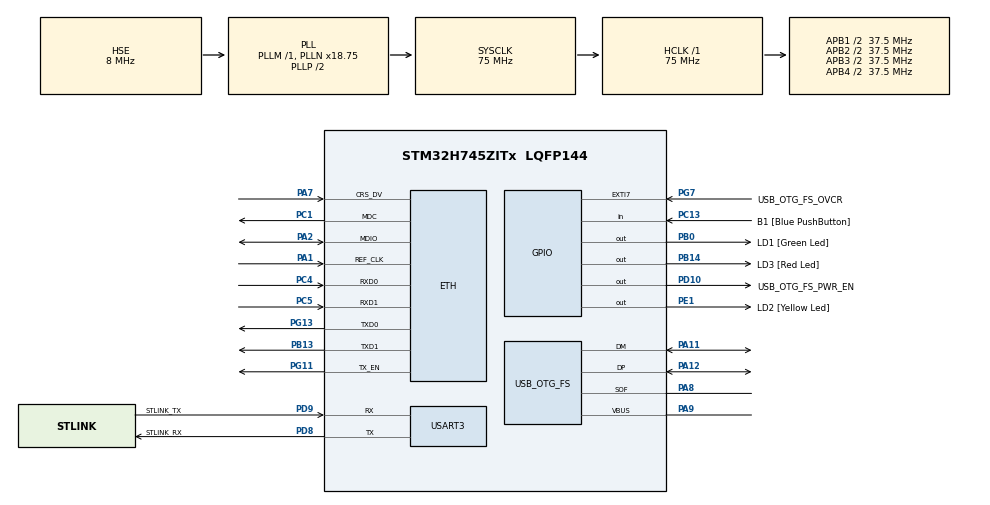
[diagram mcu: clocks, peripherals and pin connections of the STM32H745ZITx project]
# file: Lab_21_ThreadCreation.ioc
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CortexM4.IPs=FATFS_M4\:I,FREERTOS_M4\:I,IWDG2\:I,RCC,WWDG2\:I,DMA,BDMA,MDMA,NVIC2\:I,USART3,ETH,DEBUG,USB_DEVICE_M4\:I,USB_HOST_M4\:I,PDM2PCM_M4\:I,PWR,RESMGR_UTILITY,SYS_M4\:I,CORTEX_M4\:I,OPENAMP_M4\:I,VREFBUF,GPIO
CortexM7.IPs=FATFS_M7\:I,FREERTOS_M7\:I,IWDG1\:I,RCC\:I,WWDG1\:I,DMA\:I,BDMA\:I,MDMA\:I,NVIC1\:I,SYS\:I,USART3\:I,USB_OTG_FS\:I,ETH\:I,CORTEX_M7\:I,DEBUG\:I,USB_DEVICE_M7\:I,USB_HOST_M7\:I,PDM2PCM_M7\:I,PWR\:I,RESMGR_UTILITY\:I,OPENAMP_M7\:I,VREFBUF\:I,GPIO\:I,TIM4\:I
CortexM7.Pins=PB0,PE1
ETH.MediaInterface=HAL_ETH_RMII_MODE
FREERTOS_M7.Tasks01=defaultTask,24,128,StartDefaultTask,Default,NULL,Dynamic,NULL,NULL;THREAD1,24,128,LED_Thread1,Default,NULL,Dynamic,NULL,NULL;THREAD2,24,128,LED_Thread2,Default,NULL,Dynamic,NULL,NULL
FREERTOS_M7.configUSE_NEWLIB_REENTRANT=1
Mcu.Family=STM32H7
Mcu.Name=STM32H745ZITx
Mcu.Package=LQFP144
NVIC1.PriorityGroup=NVIC_PRIORITYGROUP_4
NVIC1.TIM4_IRQn=true\:15\:0\:false\:false\:true\:false\:false\:true\:true
NVIC1.TimeBase=TIM4_IRQn
NVIC1.TimeBaseIP=TIM4
NVIC2.PriorityGroup=NVIC_PRIORITYGROUP_4
PA1.Mode=RMII
PA1.PinAttribute=CortexM7
PA1.Signal=ETH_REF_CLK
PA11.Mode=Device_Only
PA11.PinAttribute=CortexM7
PA11.Signal=USB_OTG_FS_DM
PA12.Mode=Device_Only
PA12.PinAttribute=CortexM7
PA12.Signal=USB_OTG_FS_DP
PA2.Mode=RMII
PA2.PinAttribute=CortexM7
PA2.Signal=ETH_MDIO
PA7.Mode=RMII
PA7.PinAttribute=CortexM7
PA7.Signal=ETH_CRS_DV
PA8.Mode=Activate_SOF_FS
PA8.PinAttribute=CortexM7
PA8.Signal=USB_OTG_FS_SOF
PA9.Mode=Activate_VBUS
PA9.PinAttribute=CortexM7
PA9.Signal=USB_OTG_FS_VBUS
PB0.GPIO_Label=LD1 [Green Led]
PB0.PinAttribute=CortexM7
PB0.Signal=GPIO_Output
PB13.Mode=RMII
PB13.PinAttribute=CortexM7
PB13.Signal=ETH_TXD1
PB14.GPIO_Label=LD3 [Red Led]
PB14.PinAttribute=Free
PB14.Signal=GPIO_Output
PC1.Mode=RMII
PC1.PinAttribute=CortexM7
PC1.Signal=ETH_MDC
PC13.GPIO_Label=B1 [Blue PushButton]
PC13.PinAttribute=Free
PC13.Signal=GPIO_Input
PC14-OSC32_IN\ (OSC32_IN).Mode=LSE-External-Oscillator
PC14-OSC32_IN\ (OSC32_IN).PinAttribute=CortexM7
PC14-OSC32_IN\ (OSC32_IN).Signal=RCC_OSC32_IN
PC15-OSC32_OUT\ (OSC32_OUT).Mode=LSE-External-Oscillator
PC15-OSC32_OUT\ (OSC32_OUT).PinAttribute=CortexM7
PC15-OSC32_OUT\ (OSC32_OUT).Signal=RCC_OSC32_OUT
PC4.Mode=RMII
PC4.PinAttribute=CortexM7
PC4.Signal=ETH_RXD0
PC5.Mode=RMII
PC5.PinAttribute=CortexM7
PC5.Signal=ETH_RXD1
PD10.GPIO_Label=USB_OTG_FS_PWR_EN
PD10.PinAttribute=Free
PD10.Signal=GPIO_Output
PD8.GPIO_Label=STLINK_RX
PD8.Mode=Asynchronous
PD8.PinAttribute=CortexM7
PD8.Signal=USART3_TX
PD9.GPIO_Label=STLINK_TX
PD9.Mode=Asynchronous
PD9.PinAttribute=CortexM7
PD9.Signal=USART3_RX
PE1.GPIO_Label=LD2 [Yellow Led]
PE1.PinAttribute=CortexM7
PE1.Signal=GPIO_Output
PG11.Mode=RMII
PG11.PinAttribute=CortexM7
PG11.Signal=ETH_TX_EN
PG13.Mode=RMII
PG13.PinAttribute=CortexM7
PG13.Signal=ETH_TXD0
PG7.GPIO_Label=USB_OTG_FS_OVCR
PG7.PinAttribute=Free
PG7.Signal=GPXTI7
PH0-OSC_IN\ (PH0).Mode=HSE-External-Clock-Source
PH0-OSC_IN\ (PH0).PinAttribute=CortexM7
PH0-OSC_IN\ (PH0).Signal=RCC_OSC_IN
PH1-OSC_OUT\ (PH1).PinAttribute=CortexM7
PH1-OSC_OUT\ (PH1).Signal=RCC_OSC_OUT
ProjectManager.HeapSize=M4-0x200,M7-0x200
ProjectManager.StackSize=M4-0x400,M7-0x400
ProjectManager.TargetToolchain=STM32CubeIDE
RCC.ADCFreq_Value=16125000
RCC.APB1Freq_Value=37500000
RCC.APB2Freq_Value=37500000
RCC.APB3Freq_Value=37500000
RCC.APB4Freq_Value=37500000
RCC.CortexFreq_Value=75000000
RCC.D1PPRE=RCC_APB3_DIV2
RCC.D2PPRE1=RCC_APB1_DIV2
RCC.D2PPRE2=RCC_APB2_DIV2
RCC.D3PPRE=RCC_APB4_DIV2
RCC.DIVM1=1
RCC.DIVM3=1
RCC.DIVN1=18
RCC.DIVN3=18
RCC.DIVQ3=3
RCC.HCLKFreq_Value=75000000
RCC.HSE_VALUE=8000000
RCC.PLL2FRACN=0
RCC.PLL3FRACN=6144
RCC.PLLFRACN=6144
RCC.SYSCLKFreq_VALUE=75000000
RCC.SYSCLKSource=RCC_SYSCLKSOURCE_PLLCLK
RCC.SupplySource=PWR_DIRECT_SMPS_SUPPLY
RCC.USBCLockSelection=RCC_USBCLKSOURCE_PLL3
RCC.USBFreq_Value=50000000
USART3.VirtualMode-Asynchronous=VM_ASYNC
USB_OTG_FS.VirtualMode=Device_Only
VP_FREERTOS_M7_VS_CMSIS_V2.Mode=CMSIS_V2
VP_SYS_M4_VS_Systick.Mode=SysTick
VP_SYS_VS_tim4.Mode=TIM4
board=NUCLEO-H745ZI-Q

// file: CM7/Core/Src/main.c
/* USER CODE BEGIN Header */
/**
  ******************************************************************************
  * @file           : main.c
  * @brief          : Main program body
  ******************************************************************************
  * @attention
  *
  * Copyright (c) 2025 STMicroelectronics.
  * All rights reserved.
  *
  * This software is licensed under terms that can be found in the LICENSE file
  * in the root directory of this software component.
  * If no LICENSE file comes with this software, it is provided AS-IS.
  *
  ******************************************************************************
  */
/* USER CODE END Header */
#include "main.h"
#include "string.h"
#include "cmsis_os.h"

/* USER CODE BEGIN PD */

#ifndef HSEM_ID_0
#define HSEM_ID_0 (0U) /* HW semaphore 0*/
#endif
/* USER CODE END PD */

#if defined ( __ICCARM__ ) /*!< IAR Compiler */
#pragma location=0x30000000
ETH_DMADescTypeDef  DMARxDscrTab[ETH_RX_DESC_CNT]; /* Ethernet Rx DMA Descriptors */
#pragma location=0x30000200
ETH_DMADescTypeDef  DMATxDscrTab[ETH_TX_DESC_CNT]; /* Ethernet Tx DMA Descriptors */

#elif defined ( __CC_ARM )  /* MDK ARM Compiler */

__attribute__((at(0x30000000))) ETH_DMADescTypeDef  DMARxDscrTab[ETH_RX_DESC_CNT]; /* Ethernet Rx DMA Descriptors */
__attribute__((at(0x30000200))) ETH_DMADescTypeDef  DMATxDscrTab[ETH_TX_DESC_CNT]; /* Ethernet Tx DMA Descriptors */

#elif defined ( __GNUC__ ) /* GNU Compiler */
ETH_DMADescTypeDef DMARxDscrTab[ETH_RX_DESC_CNT] __attribute__((section(".RxDecripSection"))); /* Ethernet Rx DMA Descriptors */
ETH_DMADescTypeDef DMATxDscrTab[ETH_TX_DESC_CNT] __attribute__((section(".TxDecripSection")));   /* Ethernet Tx DMA Descriptors */

#endif

ETH_TxPacketConfig TxConfig;

ETH_HandleTypeDef heth;

UART_HandleTypeDef huart3;

PCD_HandleTypeDef hpcd_USB_OTG_FS;

/* Definitions for defaultTask */
osThreadId_t defaultTaskHandle;
const osThreadAttr_t defaultTask_attributes = {
  .name = "defaultTask",
  .stack_size = 128 * 4,
  .priority = (osPriority_t) osPriorityNormal,
};
/* Definitions for THREAD1 */
osThreadId_t THREAD1Handle;
const osThreadAttr_t THREAD1_attributes = {
  .name = "THREAD1",
  .stack_size = 128 * 4,
  .priority = (osPriority_t) osPriorityNormal,
};
/* Definitions for THREAD2 */
osThreadId_t THREAD2Handle;
const osThreadAttr_t THREAD2_attributes = {
  .name = "THREAD2",
  .stack_size = 128 * 4,
  .priority = (osPriority_t) osPriorityNormal,
};

void SystemClock_Config(void);
static void MX_GPIO_Init(void);
static void MX_ETH_Init(void);
static void MX_USART3_UART_Init(void);
static void MX_USB_OTG_FS_PCD_Init(void);
void StartDefaultTask(void *argument);
void LED_Thread1(void *argument);
void LED_Thread2(void *argument);

int main(void)
{
/* USER CODE BEGIN Boot_Mode_Sequence_0 */
  int32_t timeout;
/* USER CODE END Boot_Mode_Sequence_0 */

/* USER CODE BEGIN Boot_Mode_Sequence_1 */
  /* Wait until CPU2 boots and enters in stop mode or timeout*/
  timeout = 0xFFFF;
  while((__HAL_RCC_GET_FLAG(RCC_FLAG_D2CKRDY) != RESET) && (timeout-- > 0));
  if ( timeout < 0 )
  {
  Error_Handler();
  }
/* USER CODE END Boot_Mode_Sequence_1 */
  /* MCU Configuration--------------------------------------------------------*/

  /* Reset of all peripherals, Initializes the Flash interface and the Systick. */
  HAL_Init();

  /* Configure the system clock */
  SystemClock_Config();
/* USER CODE BEGIN Boot_Mode_Sequence_2 */
/* When system initialization is finished, Cortex-M7 will release Cortex-M4 by means of
HSEM notification */
/*HW semaphore Clock enable*/
__HAL_RCC_HSEM_CLK_ENABLE();
/*Take HSEM */
HAL_HSEM_FastTake(HSEM_ID_0);
/*Release HSEM in order to notify the CPU2(CM4)*/
HAL_HSEM_Release(HSEM_ID_0,0);
/* wait until CPU2 wakes up from stop mode */
timeout = 0xFFFF;
while((__HAL_RCC_GET_FLAG(RCC_FLAG_D2CKRDY) == RESET) && (timeout-- > 0));
if ( timeout < 0 )
{
Error_Handler();
}
/* USER CODE END Boot_Mode_Sequence_2 */

  /* Initialize all configured peripherals */
  MX_GPIO_Init();
  MX_ETH_Init();
  MX_USART3_UART_Init();
  MX_USB_OTG_FS_PCD_Init();

  /* Init scheduler */
  osKernelInitialize();

  /* Create the thread(s) */
  /* creation of defaultTask */
  defaultTaskHandle = osThreadNew(StartDefaultTask, NULL, &defaultTask_attributes);

  /* creation of THREAD1 */
  THREAD1Handle = osThreadNew(LED_Thread1, NULL, &THREAD1_attributes);

  /* creation of THREAD2 */
  THREAD2Handle = osThreadNew(LED_Thread2, NULL, &THREAD2_attributes);

  /* Start scheduler */
  osKernelStart();

  /* We should never get here as control is now taken by the scheduler */
  /* Infinite loop */
  while (1)
  {

  }
}

void SystemClock_Config(void)
{
  RCC_OscInitTypeDef RCC_OscInitStruct = {0};
  RCC_ClkInitTypeDef RCC_ClkInitStruct = {0};

  /** Supply configuration update enable
  */
  HAL_PWREx_ConfigSupply(PWR_DIRECT_SMPS_SUPPLY);

  /** Configure the main internal regulator output voltage
  */
  __HAL_PWR_VOLTAGESCALING_CONFIG(PWR_REGULATOR_VOLTAGE_SCALE3);

  while(!__HAL_PWR_GET_FLAG(PWR_FLAG_VOSRDY)) {}

  /** Macro to configure the PLL clock source
  */
  __HAL_RCC_PLL_PLLSOURCE_CONFIG(RCC_PLLSOURCE_HSE);

  /** Initializes the RCC Oscillators according to the specified parameters
  * in the RCC_OscInitTypeDef structure.
  */
  RCC_OscInitStruct.OscillatorType = RCC_OSCILLATORTYPE_HSE;
  RCC_OscInitStruct.HSEState = RCC_HSE_BYPASS;
  RCC_OscInitStruct.PLL.PLLState = RCC_PLL_ON;
  RCC_OscInitStruct.PLL.PLLSource = RCC_PLLSOURCE_HSE;
  RCC_OscInitStruct.PLL.PLLM = 1;
  RCC_OscInitStruct.PLL.PLLN = 18;
  RCC_OscInitStruct.PLL.PLLP = 2;
  RCC_OscInitStruct.PLL.PLLQ = 2;
  RCC_OscInitStruct.PLL.PLLR = 2;
  RCC_OscInitStruct.PLL.PLLRGE = RCC_PLL1VCIRANGE_3;
  RCC_OscInitStruct.PLL.PLLVCOSEL = RCC_PLL1VCOMEDIUM;
  RCC_OscInitStruct.PLL.PLLFRACN = 6144;
  if (HAL_RCC_OscConfig(&RCC_OscInitStruct) != HAL_OK)
  {
    Error_Handler();
  }

  /** Initializes the CPU, AHB and APB buses clocks
  */
  RCC_ClkInitStruct.ClockType = RCC_CLOCKTYPE_HCLK|RCC_CLOCKTYPE_SYSCLK
                              |RCC_CLOCKTYPE_PCLK1|RCC_CLOCKTYPE_PCLK2
                              |RCC_CLOCKTYPE_D3PCLK1|RCC_CLOCKTYPE_D1PCLK1;
  RCC_ClkInitStruct.SYSCLKSource = RCC_SYSCLKSOURCE_PLLCLK;
  RCC_ClkInitStruct.SYSCLKDivider = RCC_SYSCLK_DIV1;
  RCC_ClkInitStruct.AHBCLKDivider = RCC_HCLK_DIV1;
  RCC_ClkInitStruct.APB3CLKDivider = RCC_APB3_DIV2;
  RCC_ClkInitStruct.APB1CLKDivider = RCC_APB1_DIV2;
  RCC_ClkInitStruct.APB2CLKDivider = RCC_APB2_DIV2;
  RCC_ClkInitStruct.APB4CLKDivider = RCC_APB4_DIV2;

  if (HAL_RCC_ClockConfig(&RCC_ClkInitStruct, FLASH_LATENCY_1) != HAL_OK)
  {
    Error_Handler();
  }
}

static void MX_ETH_Init(void)
{

   static uint8_t MACAddr[6];

  heth.Instance = ETH;
  MACAddr[0] = 0x00;
  MACAddr[1] = 0x80;
  MACAddr[2] = 0xE1;
  MACAddr[3] = 0x00;
  MACAddr[4] = 0x00;
  MACAddr[5] = 0x00;
  heth.Init.MACAddr = &MACAddr[0];
  heth.Init.MediaInterface = HAL_ETH_RMII_MODE;
  heth.Init.TxDesc = DMATxDscrTab;
  heth.Init.RxDesc = DMARxDscrTab;
  heth.Init.RxBuffLen = 1524;

  if (HAL_ETH_Init(&heth) != HAL_OK)
  {
    Error_Handler();
  }

  memset(&TxConfig, 0 , sizeof(ETH_TxPacketConfig));
  TxConfig.Attributes = ETH_TX_PACKETS_FEATURES_CSUM | ETH_TX_PACKETS_FEATURES_CRCPAD;
  TxConfig.ChecksumCtrl = ETH_CHECKSUM_IPHDR_PAYLOAD_INSERT_PHDR_CALC;
  TxConfig.CRCPadCtrl = ETH_CRC_PAD_INSERT;

}

static void MX_USART3_UART_Init(void)
{

  huart3.Instance = USART3;
  huart3.Init.BaudRate = 115200;
  huart3.Init.WordLength = UART_WORDLENGTH_8B;
  huart3.Init.StopBits = UART_STOPBITS_1;
  huart3.Init.Parity = UART_PARITY_NONE;
  huart3.Init.Mode = UART_MODE_TX_RX;
  huart3.Init.HwFlowCtl = UART_HWCONTROL_NONE;
  huart3.Init.OverSampling = UART_OVERSAMPLING_16;
  huart3.Init.OneBitSampling = UART_ONE_BIT_SAMPLE_DISABLE;
  huart3.Init.ClockPrescaler = UART_PRESCALER_DIV1;
  huart3.AdvancedInit.AdvFeatureInit = UART_ADVFEATURE_NO_INIT;
  if (HAL_UART_Init(&huart3) != HAL_OK)
  {
    Error_Handler();
  }
  if (HAL_UARTEx_SetTxFifoThreshold(&huart3, UART_TXFIFO_THRESHOLD_1_8) != HAL_OK)
  {
    Error_Handler();
  }
  if (HAL_UARTEx_SetRxFifoThreshold(&huart3, UART_RXFIFO_THRESHOLD_1_8) != HAL_OK)
  {
    Error_Handler();
  }
  if (HAL_UARTEx_DisableFifoMode(&huart3) != HAL_OK)
  {
    Error_Handler();
  }

}

static void MX_USB_OTG_FS_PCD_Init(void)
{

  hpcd_USB_OTG_FS.Instance = USB_OTG_FS;
  hpcd_USB_OTG_FS.Init.dev_endpoints = 9;
  hpcd_USB_OTG_FS.Init.speed = PCD_SPEED_FULL;
  hpcd_USB_OTG_FS.Init.dma_enable = DISABLE;
  hpcd_USB_OTG_FS.Init.phy_itface = PCD_PHY_EMBEDDED;
  hpcd_USB_OTG_FS.Init.Sof_enable = DISABLE;
  hpcd_USB_OTG_FS.Init.low_power_enable = DISABLE;
  hpcd_USB_OTG_FS.Init.lpm_enable = DISABLE;
  hpcd_USB_OTG_FS.Init.battery_charging_enable = ENABLE;
  hpcd_USB_OTG_FS.Init.vbus_sensing_enable = ENABLE;
  hpcd_USB_OTG_FS.Init.use_dedicated_ep1 = DISABLE;
  if (HAL_PCD_Init(&hpcd_USB_OTG_FS) != HAL_OK)
  {
    Error_Handler();
  }

}

static void MX_GPIO_Init(void)
{
  GPIO_InitTypeDef GPIO_InitStruct = {0};

  /* GPIO Ports Clock Enable */
  __HAL_RCC_GPIOC_CLK_ENABLE();
  __HAL_RCC_GPIOH_CLK_ENABLE();
  __HAL_RCC_GPIOA_CLK_ENABLE();
  __HAL_RCC_GPIOB_CLK_ENABLE();
  __HAL_RCC_GPIOD_CLK_ENABLE();
  __HAL_RCC_GPIOG_CLK_ENABLE();
  __HAL_RCC_GPIOE_CLK_ENABLE();

  /*Configure GPIO pin Output Level */
  HAL_GPIO_WritePin(LD1_GPIO_Port, LD1_Pin, GPIO_PIN_RESET);

  /*Configure GPIO pin Output Level */
  HAL_GPIO_WritePin(LD2_GPIO_Port, LD2_Pin, GPIO_PIN_RESET);

  /*Configure GPIO pin : LD1_Pin */
  GPIO_InitStruct.Pin = LD1_Pin;
  GPIO_InitStruct.Mode = GPIO_MODE_OUTPUT_PP;
  GPIO_InitStruct.Pull = GPIO_NOPULL;
  GPIO_InitStruct.Speed = GPIO_SPEED_FREQ_LOW;
  HAL_GPIO_Init(LD1_GPIO_Port, &GPIO_InitStruct);

  /*Configure GPIO pin : LD2_Pin */
  GPIO_InitStruct.Pin = LD2_Pin;
  GPIO_InitStruct.Mode = GPIO_MODE_OUTPUT_PP;
  GPIO_InitStruct.Pull = GPIO_NOPULL;
  GPIO_InitStruct.Speed = GPIO_SPEED_FREQ_LOW;
  HAL_GPIO_Init(LD2_GPIO_Port, &GPIO_InitStruct);

}

void StartDefaultTask(void *argument)
{
  for(;;)
  {
    osDelay(1);
  }
}

void LED_Thread1(void *argument)
{
  /* USER CODE BEGIN 5 */
  uint32_t count = 0;
  (void) argument;

  /* Infinite loop */
  for (;;)
  {
    count = osKernelGetTickCount() + 5000;

    /* Toggle LED1 every 200 ms for 5 s */
    while (count > osKernelGetTickCount())
    {
      HAL_GPIO_TogglePin(LD1_GPIO_Port, LD1_Pin);

      osDelay(200);
    }

    /* Turn off LED1 */
    HAL_GPIO_WritePin(LD1_GPIO_Port, LD1_Pin, GPIO_PIN_RESET);

    /* Suspend Thread 1 */
    osStatus_t OsStatus __attribute__((unused)) = osThreadSuspend(THREAD1Handle);

    count = osKernelGetTickCount() + 5000;

    /* Toggle LED1 every 500 ms for 5 s */
    while (count > osKernelGetTickCount())
    {
      HAL_GPIO_TogglePin(LD1_GPIO_Port, LD1_Pin);

      osDelay(500);
    }

    /* Resume Thread 2*/
    osThreadResume(THREAD2Handle);
  }
  /* USER CODE END 5 */
}

void LED_Thread2(void *argument)
{
  /* USER CODE BEGIN LED_Thread2 */
  uint32_t count;
  (void) argument;

  /* Infinite loop */
  for(;;)
  {
    count = osKernelGetTickCount() + 10000;

    /* Toggle LED2 every 500 ms for 10 s */
    while (count > osKernelGetTickCount())
    {
      HAL_GPIO_TogglePin(LD2_GPIO_Port, LD2_Pin);

      osDelay(500);
    }

    /* Turn off LED2 */
    HAL_GPIO_WritePin(LD2_GPIO_Port, LD2_Pin, GPIO_PIN_RESET);

    /* Resume Thread 1 */
    osThreadResume(THREAD1Handle);

    /* Suspend Thread 2 */
    osThreadSuspend(THREAD2Handle);
  }
  /* USER CODE END LED_Thread2 */
}

void HAL_TIM_PeriodElapsedCallback(TIM_HandleTypeDef *htim)
{
  if (htim->Instance == TIM4) {
    HAL_IncTick();
  }
}

void Error_Handler(void)
{
  __disable_irq();
  while (1)
  {
  }
}
